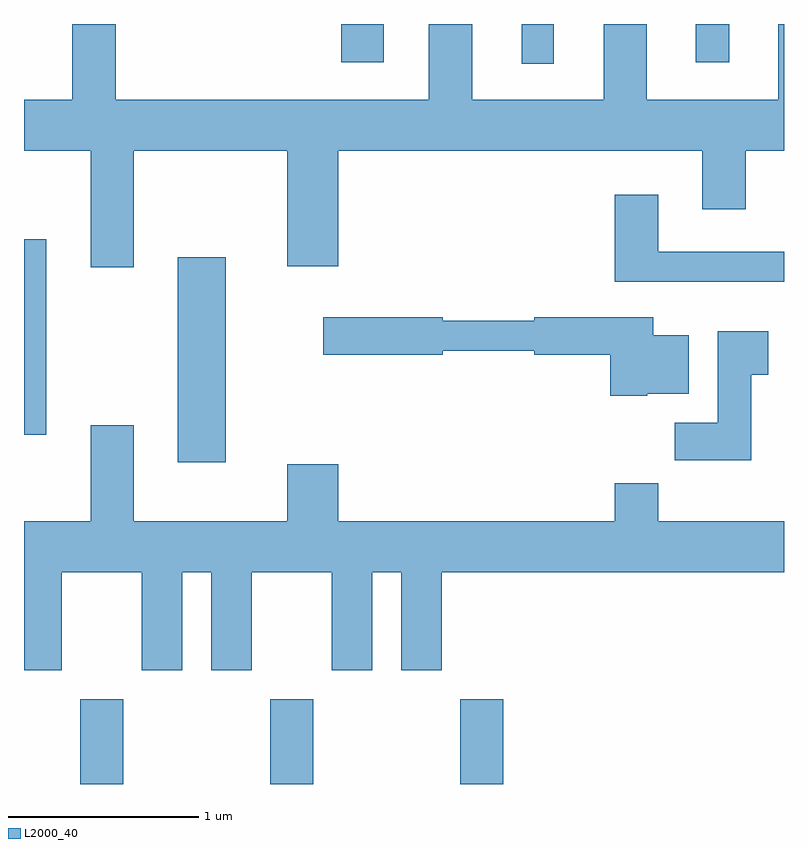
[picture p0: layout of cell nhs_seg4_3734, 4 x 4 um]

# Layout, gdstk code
import gdstk
lib = gdstk.Library(unit=1e-6, precision=1e-09)
def R(c, l, rs):  # rectangles x0, y0, x1, y1
    for r in rs: c.add(gdstk.rectangle(r[:2], r[2:], *l))
def A(c, l, x, y, w, h, nx, ny, dx, dy):  # array of equal rectangles
    R(c, l, [(x+i*dx, y+j*dy, x+i*dx+w, y+j*dy+h) for i in range(nx) for j in range(ny)])
def P(c, l, *ps):  # polygons
    for p in ps: c.add(gdstk.Polygon(p, *l))
L2000_40 = (2000, 40)

nhs_seg4_3734 = lib.new_cell('nhs_seg4_3734')
A(nhs_seg4_3734, L2000_40, 293.906, 1377.982, 0.228, 0.447, 3, 1, 1, 0)
R(nhs_seg4_3734, L2000_40, [(294.421,1379.676,294.674,1380.754), (293.611,1379.821,293.729,1380.849), (296.231,1381.773,296.399,1381.982), (295.281,1381.781,295.504,1381.982), (297.146,1381.781,297.324,1381.982)])
P(nhs_seg4_3734, L2000_40, [(294.189,1381.316),(294.996,1381.316),(294.996,1380.706),(295.264,1380.706),(295.264,1381.316),(297.181,1381.316),(297.181,1381.006),(297.409,1381.006),(297.409,1381.316),(297.611,1381.316),(297.611,1381.982),(297.581,1381.982),(297.581,1381.584),(296.889,1381.584),(296.889,1381.982),(296.661,1381.982),(296.661,1381.584),(295.969,1381.584),(295.969,1381.982),(295.741,1381.982),(295.741,1381.584),(294.094,1381.584),(294.094,1381.982),(293.866,1381.982),(293.866,1381.584),(293.611,1381.584),(293.611,1381.316),(293.961,1381.316),(293.961,1380.701),(294.189,1380.701)],
  [(297.611,1380.784),(296.949,1380.784),(296.949,1381.084),(296.721,1381.084),(296.721,1380.626),(297.611,1380.626)],
  [(296.89,1380.036),(297.109,1380.036),(297.109,1380.344),(296.924,1380.344),(296.924,1380.439),(296.296,1380.439),(296.296,1380.419),(295.814,1380.419),(295.814,1380.439),(295.186,1380.439),(295.186,1380.241),(295.814,1380.241),(295.814,1380.261),(296.296,1380.261),(296.296,1380.241),(296.696,1380.241),(296.696,1380.026),(296.89,1380.026)],
  [(297.439,1380.136),(297.529,1380.136),(297.529,1380.364),(297.261,1380.364),(297.261,1379.884),(297.036,1379.884),(297.036,1379.686),(297.439,1379.686)],
  [(293.809,1379.096),(294.231,1379.096),(294.231,1378.581),(294.444,1378.581),(294.444,1379.096),(294.596,1379.096),(294.596,1378.581),(294.809,1378.581),(294.809,1379.096),(295.231,1379.096),(295.231,1378.581),(295.444,1378.581),(295.444,1379.096),(295.596,1379.096),(295.596,1378.581),(295.809,1378.581),(295.809,1379.096),(297.611,1379.096),(297.611,1379.364),(296.949,1379.364),(296.949,1379.564),(296.721,1379.564),(296.721,1379.364),(295.264,1379.364),(295.264,1379.664),(294.996,1379.664),(294.996,1379.364),(294.189,1379.364),(294.189,1379.869),(293.961,1379.869),(293.961,1379.364),(293.611,1379.364),(293.611,1378.581),(293.809,1378.581)])

lib.write_gds('nhs_seg4_3734.gds')
